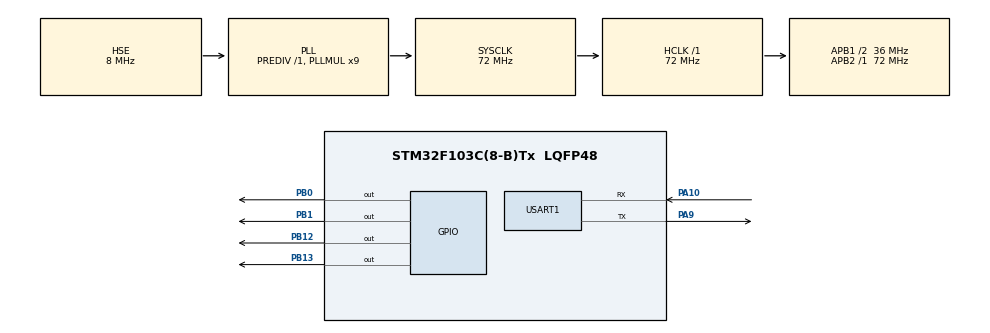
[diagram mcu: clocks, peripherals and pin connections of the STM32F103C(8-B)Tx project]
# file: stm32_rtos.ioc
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Mcu.Family=STM32F1
Mcu.Name=STM32F103C(8-B)Tx
Mcu.Package=LQFP48
NVIC.PriorityGroup=NVIC_PRIORITYGROUP_4
PA10.Mode=Asynchronous
PA10.Signal=USART1_RX
PA13.Mode=Serial_Wire
PA13.Signal=SYS_JTMS-SWDIO
PA14.Mode=Serial_Wire
PA14.Signal=SYS_JTCK-SWCLK
PA9.Mode=Asynchronous
PA9.Signal=USART1_TX
PB0.GPIO_PuPd=GPIO_PULLUP
PB0.Signal=GPIO_Output
PB1.GPIO_PuPd=GPIO_PULLUP
PB1.Signal=GPIO_Output
PB12.GPIO_PuPd=GPIO_PULLUP
PB12.Signal=GPIO_Output
PB13.GPIO_PuPd=GPIO_PULLUP
PB13.Signal=GPIO_Output
PD0-OSC_IN.Mode=HSE-External-Oscillator
PD0-OSC_IN.Signal=RCC_OSC_IN
PD1-OSC_OUT.Mode=HSE-External-Oscillator
PD1-OSC_OUT.Signal=RCC_OSC_OUT
ProjectManager.HeapSize=0x200
ProjectManager.StackSize=0x400
ProjectManager.TargetToolchain=STM32CubeIDE
RCC.AHBFreq_Value=72000000
RCC.APB1CLKDivider=RCC_HCLK_DIV2
RCC.APB1Freq_Value=36000000
RCC.APB1TimFreq_Value=72000000
RCC.APB2Freq_Value=72000000
RCC.APB2TimFreq_Value=72000000
RCC.HCLKFreq_Value=72000000
RCC.PLLMUL=RCC_PLL_MUL9
RCC.PLLSourceVirtual=RCC_PLLSOURCE_HSE
RCC.SYSCLKFreq_VALUE=72000000
RCC.SYSCLKSource=RCC_SYSCLKSOURCE_PLLCLK
RCC.USBFreq_Value=72000000
USART1.VirtualMode=VM_ASYNC
board=custom

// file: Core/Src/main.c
/* USER CODE BEGIN Header */
/**
  ******************************************************************************
  * @file           : main.c
  * @brief          : Main program body
  ******************************************************************************
  * @attention
  *
  * Copyright (c) 2025 STMicroelectronics.
  * All rights reserved.
  *
  * This software is licensed under terms that can be found in the LICENSE file
  * in the root directory of this software component.
  * If no LICENSE file comes with this software, it is provided AS-IS.
  *
  ******************************************************************************
  */
/* USER CODE END Header */
#include "main.h"

UART_HandleTypeDef huart1;

void SystemClock_Config(void);
static void MX_GPIO_Init(void);
static void MX_USART1_UART_Init(void);

int main(void)
{

  /* MCU Configuration--------------------------------------------------------*/

  /* Reset of all peripherals, Initializes the Flash interface and the Systick. */
  HAL_Init();

  /* Configure the system clock */
  SystemClock_Config();

  /* Initialize all configured peripherals */
  MX_GPIO_Init();
  MX_USART1_UART_Init();
  /* USER CODE BEGIN 2 */
  HAL_GPIO_WritePin(GPIOB, GPIO_PIN_0, GPIO_PIN_RESET);   // Tat PB0 ban dau
  HAL_GPIO_WritePin(GPIOB, GPIO_PIN_1, GPIO_PIN_RESET);   // Tat PB1
  HAL_GPIO_WritePin(GPIOB, GPIO_PIN_12, GPIO_PIN_RESET);  // Tat PB12
  HAL_GPIO_WritePin(GPIOB, GPIO_PIN_13, GPIO_PIN_RESET);  // Tat PB13
  /* USER CODE END 2 */

  /* Infinite loop */
  while (1)
  {

    /* USER CODE BEGIN 3 */
	    // Bat tung LED
	    HAL_GPIO_WritePin(GPIOB, GPIO_PIN_0, GPIO_PIN_SET);   // Bat PB0
	    HAL_Delay(500);

	    HAL_GPIO_WritePin(GPIOB, GPIO_PIN_1, GPIO_PIN_SET);   // Bat PB1
	    HAL_Delay(500);

	    HAL_GPIO_WritePin(GPIOB, GPIO_PIN_12, GPIO_PIN_SET);  // Bat PB12
	    HAL_Delay(500);

	    HAL_GPIO_WritePin(GPIOB, GPIO_PIN_13, GPIO_PIN_SET);  // Bat PB13
	    HAL_Delay(500);

	    // Tat tat ca LED
	    HAL_GPIO_WritePin(GPIOB, GPIO_PIN_0, GPIO_PIN_RESET);
	    HAL_GPIO_WritePin(GPIOB, GPIO_PIN_1, GPIO_PIN_RESET);
	    HAL_GPIO_WritePin(GPIOB, GPIO_PIN_12, GPIO_PIN_RESET);
	    HAL_GPIO_WritePin(GPIOB, GPIO_PIN_13, GPIO_PIN_RESET);
	    HAL_Delay(1000);

	    // Nhay LED nhanh
	    HAL_GPIO_TogglePin(GPIOB, GPIO_PIN_0 | GPIO_PIN_1 | GPIO_PIN_12 | GPIO_PIN_13);
	    HAL_Delay(300);
  }
  /* USER CODE END 3 */
}

void SystemClock_Config(void)
{
  RCC_OscInitTypeDef RCC_OscInitStruct = {0};
  RCC_ClkInitTypeDef RCC_ClkInitStruct = {0};

  /** Initializes the RCC Oscillators according to the specified parameters
  * in the RCC_OscInitTypeDef structure.
  */
  RCC_OscInitStruct.OscillatorType = RCC_OSCILLATORTYPE_HSE;
  RCC_OscInitStruct.HSEState = RCC_HSE_ON;
  RCC_OscInitStruct.HSEPredivValue = RCC_HSE_PREDIV_DIV1;
  RCC_OscInitStruct.HSIState = RCC_HSI_ON;
  RCC_OscInitStruct.PLL.PLLState = RCC_PLL_ON;
  RCC_OscInitStruct.PLL.PLLSource = RCC_PLLSOURCE_HSE;
  RCC_OscInitStruct.PLL.PLLMUL = RCC_PLL_MUL9;
  if (HAL_RCC_OscConfig(&RCC_OscInitStruct) != HAL_OK)
  {
    Error_Handler();
  }

  /** Initializes the CPU, AHB and APB buses clocks
  */
  RCC_ClkInitStruct.ClockType = RCC_CLOCKTYPE_HCLK|RCC_CLOCKTYPE_SYSCLK
                              |RCC_CLOCKTYPE_PCLK1|RCC_CLOCKTYPE_PCLK2;
  RCC_ClkInitStruct.SYSCLKSource = RCC_SYSCLKSOURCE_PLLCLK;
  RCC_ClkInitStruct.AHBCLKDivider = RCC_SYSCLK_DIV1;
  RCC_ClkInitStruct.APB1CLKDivider = RCC_HCLK_DIV2;
  RCC_ClkInitStruct.APB2CLKDivider = RCC_HCLK_DIV1;

  if (HAL_RCC_ClockConfig(&RCC_ClkInitStruct, FLASH_LATENCY_2) != HAL_OK)
  {
    Error_Handler();
  }
}

static void MX_USART1_UART_Init(void)
{

  huart1.Instance = USART1;
  huart1.Init.BaudRate = 115200;
  huart1.Init.WordLength = UART_WORDLENGTH_8B;
  huart1.Init.StopBits = UART_STOPBITS_1;
  huart1.Init.Parity = UART_PARITY_NONE;
  huart1.Init.Mode = UART_MODE_TX_RX;
  huart1.Init.HwFlowCtl = UART_HWCONTROL_NONE;
  huart1.Init.OverSampling = UART_OVERSAMPLING_16;
  if (HAL_UART_Init(&huart1) != HAL_OK)
  {
    Error_Handler();
  }

}

static void MX_GPIO_Init(void)
{
  GPIO_InitTypeDef GPIO_InitStruct = {0};

  /* GPIO Ports Clock Enable */
  __HAL_RCC_GPIOD_CLK_ENABLE();
  __HAL_RCC_GPIOB_CLK_ENABLE();
  __HAL_RCC_GPIOA_CLK_ENABLE();

  /*Configure GPIO pin Output Level */
  HAL_GPIO_WritePin(GPIOB, GPIO_PIN_0|GPIO_PIN_1|GPIO_PIN_12|GPIO_PIN_13, GPIO_PIN_RESET);

  /*Configure GPIO pins : PB0 PB1 PB12 PB13 */
  GPIO_InitStruct.Pin = GPIO_PIN_0|GPIO_PIN_1|GPIO_PIN_12|GPIO_PIN_13;
  GPIO_InitStruct.Mode = GPIO_MODE_OUTPUT_PP;
  GPIO_InitStruct.Pull = GPIO_PULLUP;
  GPIO_InitStruct.Speed = GPIO_SPEED_FREQ_LOW;
  HAL_GPIO_Init(GPIOB, &GPIO_InitStruct);

}

void Error_Handler(void)
{
  __disable_irq();
  while (1)
  {
  }
}
